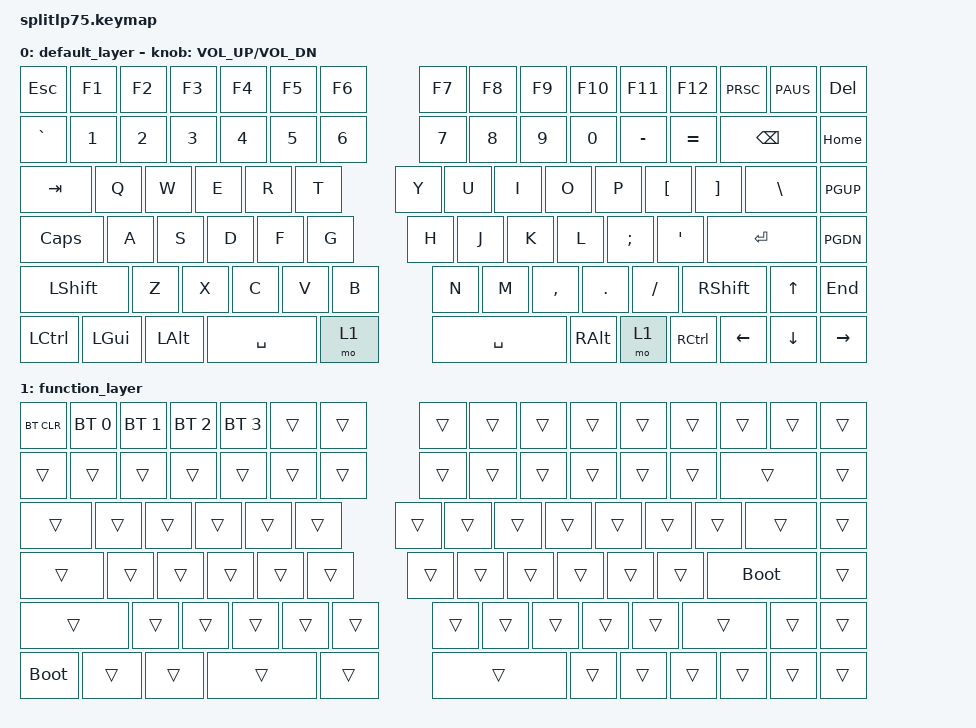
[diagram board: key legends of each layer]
/*
 * Copyright (c) 2024 Andrew Kannan
 *
 * SPDX-License-Identifier: MIT
 */

#include <behaviors.dtsi>
#include <dt-bindings/zmk/keys.h>
#include <dt-bindings/zmk/bt.h>


/ {
    keymap {
        compatible = "zmk,keymap";

        default_layer {
            bindings = <
	&kp ESC &kp F1 &kp F2 &kp F3 &kp F4 &kp F5 &kp F6        &kp F7 &kp F8 &kp F9 &kp F10 &kp F11 &kp F12 &kp PRSC &kp PAUS &kp DEL
    &kp GRAVE &kp N1 &kp N2 &kp N3 &kp N4 &kp N5 &kp N6      &kp N7 &kp N8 &kp N9 &kp N0 &kp MINUS &kp EQUAL  &kp BSPC &kp HOME
    &kp TAB  &kp Q  &kp W  &kp E  &kp R  &kp T               &kp Y  &kp U  &kp I  &kp O  &kp P  &kp LBKT  &kp RBKT  &kp BSLH &kp PGUP
    &kp CLCK  &kp A  &kp S  &kp D  &kp F  &kp G              &kp H  &kp J  &kp K  &kp L  &kp SEMI &kp SQT           &kp RET &kp PGDN
    &kp LSHFT   &kp Z  &kp X  &kp C  &kp V  &kp B            &kp N  &kp M  &kp COMMA &kp DOT &kp FSLH   &kp RSHFT &kp UP &kp END
    &kp LCTRL &kp LGUI &kp LALT &kp SPACE &mo 1              &kp SPACE &kp RALT  &mo 1   &kp RCTRL &kp LEFT &kp DOWN &kp RIGHT
            >;

            sensor-bindings = <&inc_dec_kp C_VOL_UP C_VOL_DN>;
        };

        function_layer {
            bindings = <
	&bt BT_CLR &bt BT_SEL 0 &bt BT_SEL 1 &bt BT_SEL 2 &bt BT_SEL 3 &trans &trans &trans &trans &trans &trans &trans &trans &trans &trans &trans
    &trans &trans &trans &trans &trans &trans &trans                             &trans &trans &trans &trans &trans &trans &trans &trans
    &trans &trans &trans &trans &trans &trans                                    &trans &trans &trans &trans &trans &trans &trans &trans &trans
    &trans &trans &trans &trans &trans &trans                                    &trans &trans &trans &trans &trans &trans   &bootloader &trans
    &trans &trans &trans &trans &trans &trans                                    &trans &trans &trans &trans &trans &trans &trans &trans
    &bootloader &trans &trans &trans &trans                                      &trans &trans &trans &trans &trans &trans &trans
            >;
        };
    };
};


